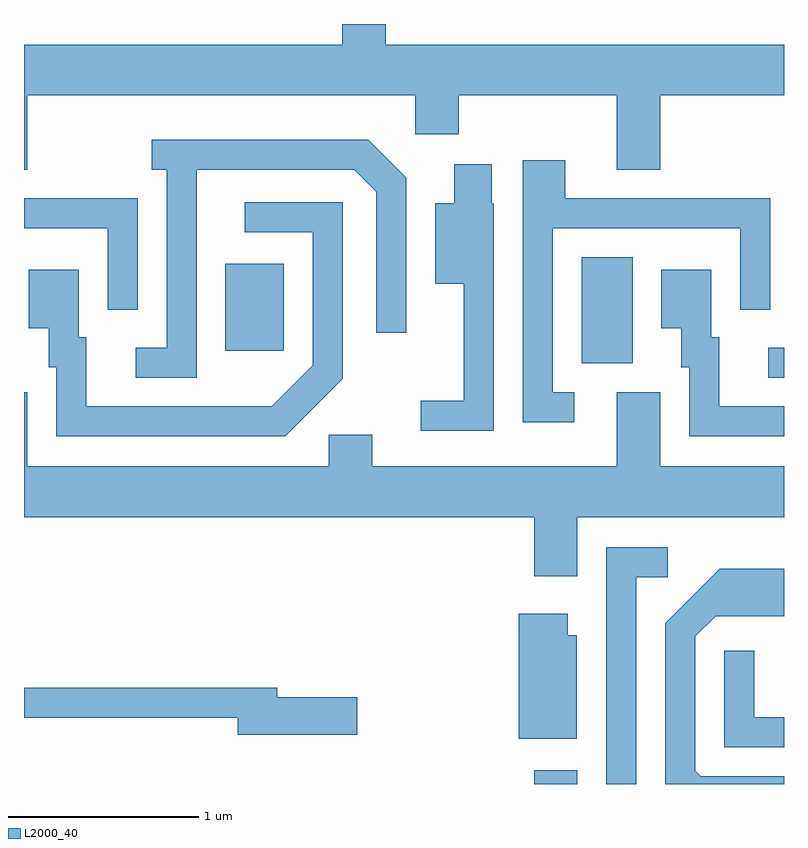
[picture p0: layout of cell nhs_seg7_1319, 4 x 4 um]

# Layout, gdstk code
import gdstk
lib = gdstk.Library(unit=1e-6, precision=1e-09)
def R(c, l, rs):  # rectangles x0, y0, x1, y1
    for r in rs: c.add(gdstk.rectangle(r[:2], r[2:], *l))
def P(c, l, *ps):  # polygons
    for p in ps: c.add(gdstk.Polygon(p, *l))
L2000_40 = (2000, 40)

nhs_seg7_1319 = lib.new_cell('nhs_seg7_1319')
R(nhs_seg7_1319, L2000_40, [(228.296,1706.252,228.524,1706.324), (229.528,1708.391,229.611,1708.549), (228.546,1708.466,228.814,1709.024), (226.671,1708.531,226.979,1708.989)])
P(nhs_seg7_1319, L2000_40, [(225.629,1709.876),(227.671,1709.876),(227.671,1709.671),(227.899,1709.671),(227.899,1709.876),(228.731,1709.876),(228.731,1709.486),(228.959,1709.486),(228.959,1709.876),(229.611,1709.876),(229.611,1710.144),(227.514,1710.144),(227.514,1710.252),(227.286,1710.252),(227.286,1710.144),(225.611,1710.144),(225.611,1709.486),(225.629,1709.486)],
  [(226.519,1709.486),(227.349,1709.486),(227.466,1709.369),(227.466,1708.628),(227.624,1708.628),(227.624,1709.442),(227.422,1709.644),(226.283,1709.644),(226.283,1709.486),(226.361,1709.486),(226.361,1708.549),(226.198,1708.549),(226.198,1708.391),(226.519,1708.391)],
  [(228.508,1708.314),(228.394,1708.314),(228.394,1709.176),(229.381,1709.176),(229.381,1708.748),(229.539,1708.748),(229.539,1709.334),(228.459,1709.334),(228.459,1709.534),(228.236,1709.534),(228.236,1708.156),(228.508,1708.156)],
  [(228.084,1709.305),(228.074,1709.305),(228.074,1709.514),(227.876,1709.514),(227.876,1709.309),(227.776,1709.309),(227.776,1708.886),(227.926,1708.886),(227.926,1708.269),(227.698,1708.269),(227.698,1708.111),(228.084,1708.111)],
  [(226.209,1709.334),(225.611,1709.334),(225.611,1709.176),(226.051,1709.176),(226.051,1708.748),(226.209,1708.748)],
  [(227.289,1708.384),(227.289,1709.314),(226.773,1709.314),(226.773,1709.156),(227.131,1709.156),(227.131,1708.457),(226.914,1708.239),(225.939,1708.239),(225.939,1708.604),(225.899,1708.604),(225.899,1708.959),(225.636,1708.959),(225.636,1708.651),(225.741,1708.651),(225.741,1708.446),(225.781,1708.446),(225.781,1708.081),(226.987,1708.081)],
  [(229.611,1708.239),(229.269,1708.239),(229.269,1708.604),(229.229,1708.604),(229.229,1708.959),(228.966,1708.959),(228.966,1708.651),(229.071,1708.651),(229.071,1708.446),(229.111,1708.446),(229.111,1708.081),(229.611,1708.081)],
  [(228.524,1707.656),(229.611,1707.656),(229.611,1707.924),(228.959,1707.924),(228.959,1708.314),(228.731,1708.314),(228.731,1707.924),(227.444,1707.924),(227.444,1708.089),(227.216,1708.089),(227.216,1707.924),(225.629,1707.924),(225.629,1708.314),(225.611,1708.314),(225.611,1707.656),(228.296,1707.656),(228.296,1707.346),(228.524,1707.346)],
  [(228.834,1707.341),(228.998,1707.341),(228.998,1707.499),(228.676,1707.499),(228.676,1706.252),(228.834,1706.252)],
  [(229.611,1706.294),(229.172,1706.294),(229.144,1706.322),(229.144,1707.029),(229.252,1707.136),(229.611,1707.136),(229.611,1707.384),(229.274,1707.384),(228.986,1707.097),(228.986,1706.252),(229.611,1706.252)],
  [(228.519,1707.034),(228.474,1707.034),(228.474,1707.149),(228.216,1707.149),(228.216,1706.491),(228.519,1706.491)],
  [(229.611,1706.604),(229.454,1706.604),(229.454,1706.953),(229.296,1706.953),(229.296,1706.446),(229.611,1706.446)],
  [(227.364,1706.709),(226.944,1706.709),(226.944,1706.759),(225.611,1706.759),(225.611,1706.601),(226.736,1706.601),(226.736,1706.511),(227.364,1706.511)])

lib.write_gds('nhs_seg7_1319.gds')
